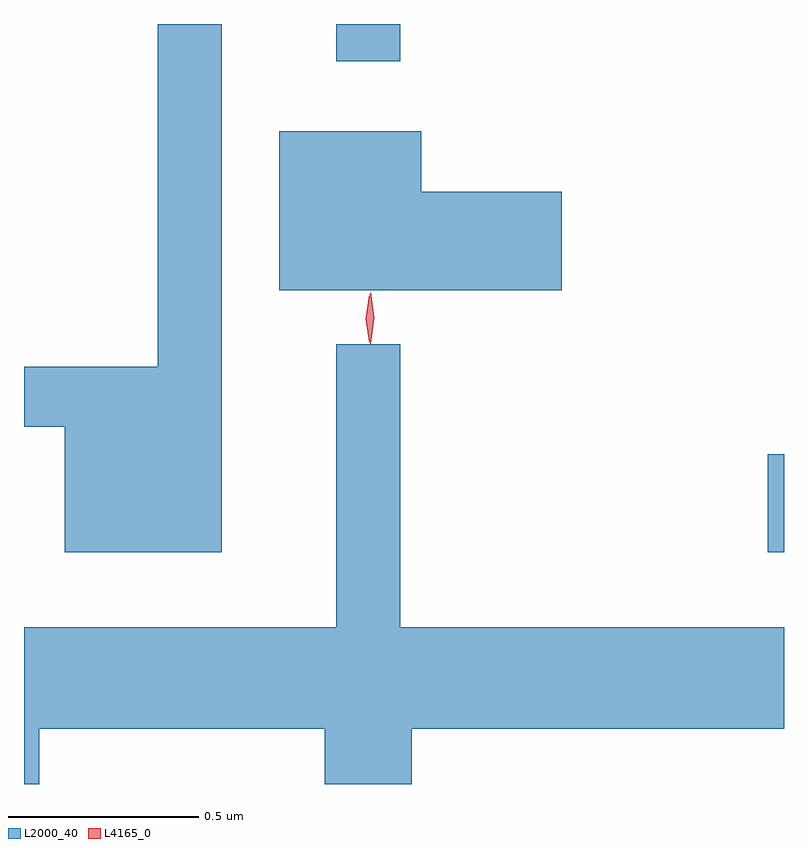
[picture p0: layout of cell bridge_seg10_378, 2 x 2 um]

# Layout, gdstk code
import gdstk
lib = gdstk.Library(unit=1e-6, precision=1e-09)
def R(c, l, rs):  # rectangles x0, y0, x1, y1
    for r in rs: c.add(gdstk.rectangle(r[:2], r[2:], *l))
def P(c, l, *ps):  # polygons
    for p in ps: c.add(gdstk.Polygon(p, *l))
L2000_40 = (2000, 40)
L4165_0 = (4165, 0)

bridge_seg10_378 = lib.new_cell('bridge_seg10_378')
R(bridge_seg10_378, L2000_40, [(1259.806,2154.341,1259.849,2154.599), (1258.671,2155.633,1258.839,2155.731)])
P(bridge_seg10_378, L2000_40, [(1258.369,2155.731),(1258.201,2155.731),(1258.201,2154.829),(1257.849,2154.829),(1257.849,2154.671),(1257.956,2154.671),(1257.956,2154.341),(1258.369,2154.341)],
  [(1259.264,2155.289),(1258.894,2155.289),(1258.894,2155.449),(1258.521,2155.449),(1258.521,2155.031),(1259.264,2155.031)],
  [(1257.889,2153.876),(1258.641,2153.876),(1258.641,2153.731),(1258.869,2153.731),(1258.869,2153.876),(1259.849,2153.876),(1259.849,2154.144),(1258.839,2154.144),(1258.839,2154.888),(1258.671,2154.888),(1258.671,2154.144),(1257.849,2154.144),(1257.849,2153.731),(1257.889,2153.731)])
P(bridge_seg10_378, L4165_0, [(1258.76,2154.89),(1258.76,2154.89),(1258.751,2154.958),(1258.762,2155.026),(1258.762,2155.026),(1258.762,2155.026),(1258.771,2154.958),(1258.761,2154.89)],
  [(1258.758,2154.893),(1258.757,2154.894),(1258.748,2154.956),(1258.757,2155.019),(1258.758,2155.02),(1258.758,2155.019),(1258.768,2154.956),(1258.758,2154.894)])

lib.write_gds('bridge_seg10_378.gds')
